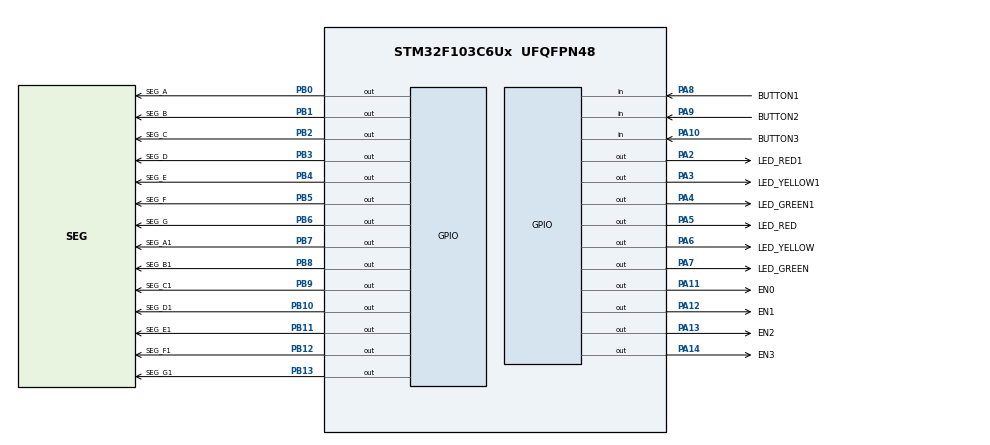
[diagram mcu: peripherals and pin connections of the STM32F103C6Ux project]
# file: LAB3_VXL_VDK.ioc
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Mcu.Family=STM32F1
Mcu.Name=STM32F103C6Ux
Mcu.Package=UFQFPN48
NVIC.PriorityGroup=NVIC_PRIORITYGROUP_4
NVIC.TIM2_IRQn=true\:0\:0\:false\:false\:true\:true\:true
PA10.GPIO_Label=BUTTON3
PA10.GPIO_PuPd=GPIO_PULLUP
PA10.Signal=GPIO_Input
PA11.GPIO_Label=EN0
PA11.Signal=GPIO_Output
PA12.GPIO_Label=EN1
PA12.Signal=GPIO_Output
PA13.GPIO_Label=EN2
PA13.Signal=GPIO_Output
PA14.GPIO_Label=EN3
PA14.Signal=GPIO_Output
PA2.GPIO_Label=LED_RED1
PA2.Signal=GPIO_Output
PA3.GPIO_Label=LED_YELLOW1
PA3.Signal=GPIO_Output
PA4.GPIO_Label=LED_GREEN1
PA4.Signal=GPIO_Output
PA5.GPIO_Label=LED_RED
PA5.Signal=GPIO_Output
PA6.GPIO_Label=LED_YELLOW
PA6.Signal=GPIO_Output
PA7.GPIO_Label=LED_GREEN
PA7.Signal=GPIO_Output
PA8.GPIO_Label=BUTTON1
PA8.GPIO_PuPd=GPIO_PULLUP
PA8.Signal=GPIO_Input
PA9.GPIO_Label=BUTTON2
PA9.GPIO_PuPd=GPIO_PULLUP
PA9.Signal=GPIO_Input
PB0.GPIO_Label=SEG_A
PB0.Signal=GPIO_Output
PB1.GPIO_Label=SEG_B
PB1.Signal=GPIO_Output
PB10.GPIO_Label=SEG_D1
PB10.Signal=GPIO_Output
PB11.GPIO_Label=SEG_E1
PB11.Signal=GPIO_Output
PB12.GPIO_Label=SEG_F1
PB12.Signal=GPIO_Output
PB13.GPIO_Label=SEG_G1
PB13.Signal=GPIO_Output
PB2.GPIO_Label=SEG_C
PB2.Signal=GPIO_Output
PB3.GPIO_Label=SEG_D
PB3.Signal=GPIO_Output
PB4.GPIO_Label=SEG_E
PB4.Signal=GPIO_Output
PB5.GPIO_Label=SEG_F
PB5.Signal=GPIO_Output
PB6.GPIO_Label=SEG_G
PB6.Signal=GPIO_Output
PB7.GPIO_Label=SEG_A1
PB7.Signal=GPIO_Output
PB8.GPIO_Label=SEG_B1
PB8.Signal=GPIO_Output
PB9.GPIO_Label=SEG_C1
PB9.Signal=GPIO_Output
ProjectManager.HeapSize=0x200
ProjectManager.StackSize=0x400
ProjectManager.TargetToolchain=STM32CubeIDE
RCC.APB1Freq_Value=8000000
RCC.APB2Freq_Value=8000000
TIM2.Period=9
TIM2.Prescaler=7999
VP_SYS_VS_ND.Mode=No_Debug
VP_TIM2_VS_ClockSourceINT.Mode=Internal
board=custom

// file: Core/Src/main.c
/* USER CODE BEGIN Header */
/**
  ******************************************************************************
  * @file           : main.c
  * @brief          : Main program body
  ******************************************************************************
  * @attention
  *
  * <h2><center>&copy; Copyright (c) 2024 STMicroelectronics.
  * All rights reserved.</center></h2>
  *
  * This software component is licensed by ST under BSD 3-Clause license,
  * the "License"; You may not use this file except in compliance with the
  * License. You may obtain a copy of the License at:
  *                        opensource.org/licenses/BSD-3-Clause
  *
  ******************************************************************************
  */
/* USER CODE END Header */
#include "main.h"

/* USER CODE BEGIN Includes */
#include "global.h"
#include "7_Segment.h"
#include "light_traffic.h"
#include "fsm_automatic.h"
#include "fsm_manual.h"
#include "fsm_setting.h"
#include "fsm_save_value.h"
#include "scheduler.h"
/* USER CODE END Includes */

TIM_HandleTypeDef htim2;

void SystemClock_Config(void);
static void MX_GPIO_Init(void);
static void MX_TIM2_Init(void);

int main(void)
{
  /* USER CODE BEGIN 1 */
//init_traffic_light(RED_COLOR,RED_AUTO,5, GREEN_COLOR,GREEN_AUTO,3);
  /* USER CODE END 1 */

  /* MCU Configuration--------------------------------------------------------*/

  /* Reset of all peripherals, Initializes the Flash interface and the Systick. */
  HAL_Init();

  /* Configure the system clock */
  SystemClock_Config();

  /* Initialize all configured peripherals */
  MX_GPIO_Init();
  MX_TIM2_Init();
  /* USER CODE BEGIN 2 */
HAL_TIM_Base_Start_IT(&htim2);
  /* USER CODE END 2 */

  /* Infinite loop */
  /* USER CODE BEGIN WHILE */
//setTimer1(25);
//HAL_GPIO_WritePin(EN0_GPIO_Port, EN0_Pin,GPIO_PIN_SET);
//HAL_GPIO_WritePin(EN1_GPIO_Port, EN1_Pin,GPIO_PIN_SET);
//HAL_GPIO_WritePin(EN2_GPIO_Port, EN2_Pin,GPIO_PIN_SET);
//HAL_GPIO_WritePin(EN3_GPIO_Port, EN3_Pin,GPIO_PIN_SET);
//updateClockBuffer(3, 5);
SCH_Add_Task(fsm_automatic_run, 25, 25);
SCH_Add_Task(fsm_manual_run, 25, 25);
SCH_Add_Task(fsm_save_value_run, 25, 25);
SCH_Add_Task(fsm_setting_run, 25, 25);

  while (1)
  {
//	  fsm_automatic_run();
//      fsm_manual_run();
//      fsm_setting_run();
//      fsm_save_value_run();
	   SCH_Dispatch_Tasks();
    /* USER CODE END WHILE */

  }
}

void SystemClock_Config(void)
{
  RCC_OscInitTypeDef RCC_OscInitStruct = {0};
  RCC_ClkInitTypeDef RCC_ClkInitStruct = {0};

  /** Initializes the RCC Oscillators according to the specified parameters
  * in the RCC_OscInitTypeDef structure.
  */
  RCC_OscInitStruct.OscillatorType = RCC_OSCILLATORTYPE_HSI;
  RCC_OscInitStruct.HSIState = RCC_HSI_ON;
  RCC_OscInitStruct.HSICalibrationValue = RCC_HSICALIBRATION_DEFAULT;
  RCC_OscInitStruct.PLL.PLLState = RCC_PLL_NONE;
  if (HAL_RCC_OscConfig(&RCC_OscInitStruct) != HAL_OK)
  {
    Error_Handler();
  }
  /** Initializes the CPU, AHB and APB buses clocks
  */
  RCC_ClkInitStruct.ClockType = RCC_CLOCKTYPE_HCLK|RCC_CLOCKTYPE_SYSCLK
                              |RCC_CLOCKTYPE_PCLK1|RCC_CLOCKTYPE_PCLK2;
  RCC_ClkInitStruct.SYSCLKSource = RCC_SYSCLKSOURCE_HSI;
  RCC_ClkInitStruct.AHBCLKDivider = RCC_SYSCLK_DIV1;
  RCC_ClkInitStruct.APB1CLKDivider = RCC_HCLK_DIV1;
  RCC_ClkInitStruct.APB2CLKDivider = RCC_HCLK_DIV1;

  if (HAL_RCC_ClockConfig(&RCC_ClkInitStruct, FLASH_LATENCY_0) != HAL_OK)
  {
    Error_Handler();
  }
}

static void MX_TIM2_Init(void)
{

  TIM_ClockConfigTypeDef sClockSourceConfig = {0};
  TIM_MasterConfigTypeDef sMasterConfig = {0};

  htim2.Instance = TIM2;
  htim2.Init.Prescaler = 7999;
  htim2.Init.CounterMode = TIM_COUNTERMODE_UP;
  htim2.Init.Period = 9;
  htim2.Init.ClockDivision = TIM_CLOCKDIVISION_DIV1;
  htim2.Init.AutoReloadPreload = TIM_AUTORELOAD_PRELOAD_DISABLE;
  if (HAL_TIM_Base_Init(&htim2) != HAL_OK)
  {
    Error_Handler();
  }
  sClockSourceConfig.ClockSource = TIM_CLOCKSOURCE_INTERNAL;
  if (HAL_TIM_ConfigClockSource(&htim2, &sClockSourceConfig) != HAL_OK)
  {
    Error_Handler();
  }
  sMasterConfig.MasterOutputTrigger = TIM_TRGO_RESET;
  sMasterConfig.MasterSlaveMode = TIM_MASTERSLAVEMODE_DISABLE;
  if (HAL_TIMEx_MasterConfigSynchronization(&htim2, &sMasterConfig) != HAL_OK)
  {
    Error_Handler();
  }

}

static void MX_GPIO_Init(void)
{
  GPIO_InitTypeDef GPIO_InitStruct = {0};

  /* GPIO Ports Clock Enable */
  __HAL_RCC_GPIOA_CLK_ENABLE();
  __HAL_RCC_GPIOB_CLK_ENABLE();

  /*Configure GPIO pin Output Level */
  HAL_GPIO_WritePin(GPIOA, LED_RED1_Pin|LED_YELLOW1_Pin|LED_GREEN1_Pin|LED_RED_Pin
                          |LED_YELLOW_Pin|LED_GREEN_Pin|EN0_Pin|EN1_Pin
                          |EN2_Pin|EN3_Pin, GPIO_PIN_RESET);

  /*Configure GPIO pin Output Level */
  HAL_GPIO_WritePin(GPIOB, SEG_A_Pin|SEG_B_Pin|SEG_C_Pin|SEG_D1_Pin
                          |SEG_E1_Pin|SEG_F1_Pin|SEG_G1_Pin|SEG_D_Pin
                          |SEG_E_Pin|SEG_F_Pin|SEG_G_Pin|SEG_A1_Pin
                          |SEG_B1_Pin|SEG_C1_Pin, GPIO_PIN_RESET);

  /*Configure GPIO pins : LED_RED1_Pin LED_YELLOW1_Pin LED_GREEN1_Pin LED_RED_Pin
                           LED_YELLOW_Pin LED_GREEN_Pin EN0_Pin EN1_Pin
                           EN2_Pin EN3_Pin */
  GPIO_InitStruct.Pin = LED_RED1_Pin|LED_YELLOW1_Pin|LED_GREEN1_Pin|LED_RED_Pin
                          |LED_YELLOW_Pin|LED_GREEN_Pin|EN0_Pin|EN1_Pin
                          |EN2_Pin|EN3_Pin;
  GPIO_InitStruct.Mode = GPIO_MODE_OUTPUT_PP;
  GPIO_InitStruct.Pull = GPIO_NOPULL;
  GPIO_InitStruct.Speed = GPIO_SPEED_FREQ_LOW;
  HAL_GPIO_Init(GPIOA, &GPIO_InitStruct);

  /*Configure GPIO pins : SEG_A_Pin SEG_B_Pin SEG_C_Pin SEG_D1_Pin
                           SEG_E1_Pin SEG_F1_Pin SEG_G1_Pin SEG_D_Pin
                           SEG_E_Pin SEG_F_Pin SEG_G_Pin SEG_A1_Pin
                           SEG_B1_Pin SEG_C1_Pin */
  GPIO_InitStruct.Pin = SEG_A_Pin|SEG_B_Pin|SEG_C_Pin|SEG_D1_Pin
                          |SEG_E1_Pin|SEG_F1_Pin|SEG_G1_Pin|SEG_D_Pin
                          |SEG_E_Pin|SEG_F_Pin|SEG_G_Pin|SEG_A1_Pin
                          |SEG_B1_Pin|SEG_C1_Pin;
  GPIO_InitStruct.Mode = GPIO_MODE_OUTPUT_PP;
  GPIO_InitStruct.Pull = GPIO_NOPULL;
  GPIO_InitStruct.Speed = GPIO_SPEED_FREQ_LOW;
  HAL_GPIO_Init(GPIOB, &GPIO_InitStruct);

  /*Configure GPIO pins : BUTTON1_Pin BUTTON2_Pin BUTTON3_Pin */
  GPIO_InitStruct.Pin = BUTTON1_Pin|BUTTON2_Pin|BUTTON3_Pin;
  GPIO_InitStruct.Mode = GPIO_MODE_INPUT;
  GPIO_InitStruct.Pull = GPIO_PULLUP;
  HAL_GPIO_Init(GPIOA, &GPIO_InitStruct);

}

/* USER CODE BEGIN 4 */
void HAL_TIM_PeriodElapsedCallback(TIM_HandleTypeDef *htim){
//	timerRun();
	getKeyInput();
	SCH_Update();
}
/* USER CODE END 4 */

void Error_Handler(void)
{
  __disable_irq();
  while (1)
  {
  }
}

/************************ (C) COPYRIGHT STMicroelectronics *****END OF FILE****/
